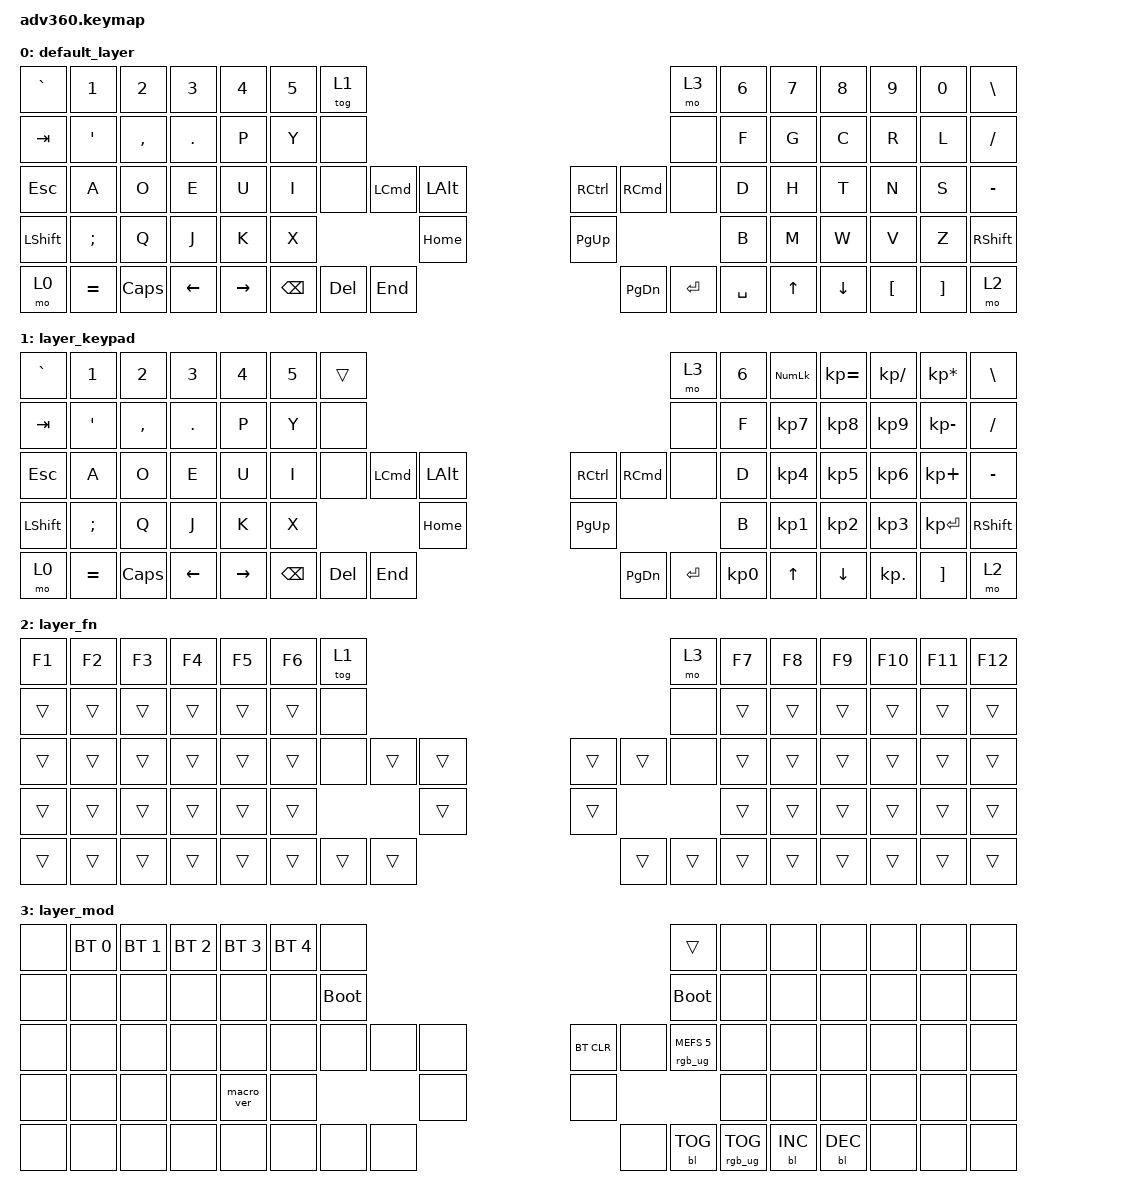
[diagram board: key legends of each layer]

/*
 * Copyright (c) 2020 The ZMK Contributors
 *
 * SPDX-License-Identifier: MIT
 */


/* THIS FILE WAS GENERATED!
 *
 * This file was generated automatically. You may or may not want to
 * edit it directly.
 */

#include <behaviors.dtsi>
#include <dt-bindings/zmk/keys.h>
#include <dt-bindings/zmk/bt.h>
#include <dt-bindings/zmk/rgb.h>
#include <dt-bindings/zmk/backlight.h>

/ {
  behaviors {
    #include "macros.dtsi"
    #include "version.dtsi"

    hm: homerow_mods {
        compatible = "zmk,behavior-hold-tap";
        label = "HOMEROW_MODS";
        #binding-cells = <2>;
        tapping-term-ms = <200>;
        quick_tap_ms = <175>;
        flavor = "tap-preferred";
        bindings = <&kp>, <&kp>;
    };
  };

    keymap {
        compatible = "zmk,keymap";


        default_layer {
            bindings = <
 &kp GRAVE            &kp N1     &kp N2      &kp N3     &kp N4  &kp N5              &tog 1                                                                                            &mo 3  &kp N6  &kp N7    &kp N8    &kp N9    &kp N0  &kp BACKSLASH
   &kp TAB  &kp SINGLE_QUOTE  &kp COMMA  &kp PERIOD      &kp P   &kp Y               &none                                                                                            &none   &kp F   &kp G     &kp C     &kp R     &kp L      &kp SLASH
   &kp ESC             &kp A      &kp O       &kp E      &kp U   &kp I               &none  &kp LEFT_COMMAND  &kp LEFT_ALT                  &kp RIGHT_CONTROL  &kp RIGHT_COMMAND      &none   &kp D   &kp H     &kp T     &kp N     &kp S      &kp MINUS
 &kp LSHFT     &kp SEMICOLON      &kp Q       &kp J      &kp K   &kp X                                            &kp HOME                          &kp PG_UP                                 &kp B   &kp M     &kp W     &kp V     &kp Z      &kp RSHFT
     &mo 0         &kp EQUAL   &kp CAPS    &kp LEFT  &kp RIGHT                    &kp BSPC           &kp DEL       &kp END                          &kp PG_DN          &kp ENTER  &kp SPACE          &kp UP  &kp DOWN  &kp LBKT  &kp RBKT          &mo 2
            >;
        };

        layer_keypad {
            bindings = <
 &kp GRAVE            &kp N1     &kp N2      &kp N3     &kp N4  &kp N5              &trans                                                                                        &mo 3  &kp N6  &kp KP_NUM  &kp KP_EQUAL  &kp KP_DIVIDE  &kp KP_MULTIPLY  &kp BACKSLASH
   &kp TAB  &kp SINGLE_QUOTE  &kp COMMA  &kp PERIOD      &kp P   &kp Y               &none                                                                                        &none   &kp F   &kp KP_N7     &kp KP_N8      &kp KP_N9     &kp KP_MINUS      &kp SLASH
   &kp ESC             &kp A      &kp O       &kp E      &kp U   &kp I               &none  &kp LEFT_COMMAND  &kp LALT                  &kp RIGHT_CONTROL  &kp RIGHT_COMMAND      &none   &kp D   &kp KP_N4     &kp KP_N5      &kp KP_N6      &kp KP_PLUS      &kp MINUS
 &kp LSHFT     &kp SEMICOLON      &kp Q       &kp J      &kp K   &kp X                                        &kp HOME                          &kp PG_UP                                 &kp B   &kp KP_N1     &kp KP_N2      &kp KP_N3     &kp KP_ENTER      &kp RSHFT
     &mo 0         &kp EQUAL   &kp CAPS    &kp LEFT  &kp RIGHT                    &kp BSPC           &kp DEL   &kp END                          &kp PG_DN          &kp ENTER  &kp KP_N0              &kp UP      &kp DOWN     &kp KP_DOT         &kp RBKT          &mo 2
            >;
        };

        layer_fn {
            bindings = <
 &kp F1  &kp F2  &kp F3  &kp F4  &kp F5  &kp F6            &tog 1                                                   &mo 3  &kp F7  &kp F8  &kp F9  &kp F10  &kp F11  &kp F12
 &trans  &trans  &trans  &trans  &trans  &trans             &none                                                   &none  &trans  &trans  &trans   &trans   &trans   &trans
 &trans  &trans  &trans  &trans  &trans  &trans             &none  &trans  &trans                  &trans  &trans   &none  &trans  &trans  &trans   &trans   &trans   &trans
 &trans  &trans  &trans  &trans  &trans  &trans                            &trans                  &trans                  &trans  &trans  &trans   &trans   &trans   &trans
 &trans  &trans  &trans  &trans  &trans                    &trans  &trans  &trans                  &trans  &trans  &trans          &trans  &trans   &trans   &trans   &trans
            >;
        };

        layer_mod {
            bindings = <
  &none  &bt BT_SEL 0  &bt BT_SEL 1  &bt BT_SEL 2  &bt BT_SEL 3  &bt BT_SEL 4                  &none                                                                          &trans   &none       &none       &none   &none   &none   &none
  &none         &none         &none         &none         &none         &none            &bootloader                                                                     &bootloader   &none       &none       &none   &none   &none   &none
  &none         &none         &none         &none         &none         &none                  &none   &none   &none                  &bt BT_CLR       &none  &rgb_ug RGB_MEFS_CMD 5   &none       &none       &none   &none   &none   &none
  &none         &none         &none         &none    &macro_ver         &none                                  &none                       &none                                       &none       &none       &none   &none   &none   &none
  &none         &none         &none         &none         &none                                &none   &none   &none                       &none  &bl BL_TOG         &rgb_ug RGB_TOG          &bl BL_INC  &bl BL_DEC   &none   &none   &none
            >;
        };

    };
};
